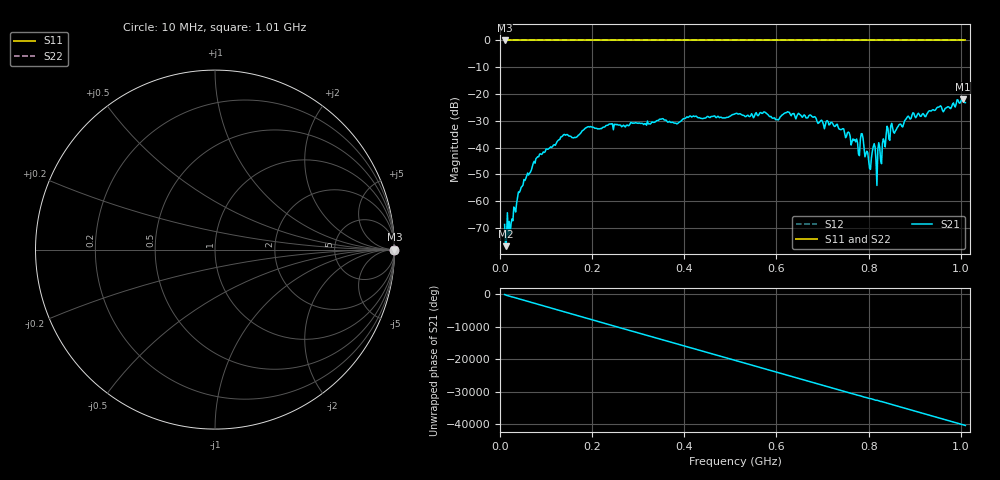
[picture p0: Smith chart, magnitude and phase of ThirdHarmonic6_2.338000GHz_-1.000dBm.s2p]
! 8/17/2025 3:26:13 AM
! C:\ANRITSUVNA\TEMP\TEMP.S2P
! CHANNEL.1
! TR.MEASUREMENT
! RAW.DATA
! RF.CORRECTION.OFF
! AVERAGING.OFF
! IF.BANDWIDTH: 5KHZ
! SWEEPTYPE:  FREQ.SWEEP(Linear)
! Reference Plane Port Info
! PORT:  PORT1  PORT2
! DISTANCE:  0  m  0  m
! TIME:  0  s  0  s
! PHASE.OFFSET:  0  deg.  0  deg.
! LOSS:  0  dB  0  dB
! REF.LOSS:  0  dB  0  dB
! REF.FREQ:  0  Hz  0  Hz
! Power Info
! POWER:  -20  dBm  -20  dBm
! EFF.POWER:  -20  dBm  -20  dBm
! SOURCE.ATTEN:  0  dB  0  dB
! TEST.ATTEN:  0  dB  0  dB
# GHZ S RI R 50.0
! FREQ.GHZ  S11RE  S11IM  S21RE  S21IM  S12RE  S12IM  S22RE  S22IM
!; PortSelection: Port_12
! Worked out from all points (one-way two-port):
!   501 points, 10 MHz to 1.01 GHz, reference 50 ohm
!   highest |S21| = -21.92 dB at 1.004 GHz (marker M1); lowest = -76.8 dB at 12 MHz (marker M2)
!   lowest |S11| = 0.0 dB at 10 MHz (marker M3)
!   |S11| at or under -10 dB: nowhere
!   |S22| runs from 0.0 to 0.0 dB; largest |S21 - S12| = 1.1
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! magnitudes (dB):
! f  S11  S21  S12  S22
! 10 MHz  0.0  -68.7  0.0  0.0
! 12 MHz  0.0  -76.8  0.0  0.0
! 22 MHz  0.0  -72.6  0.0  0.0
! 42 MHz  0.0  -56.8  0.0  0.0
! 82 MHz  0.0  -43.4  0.0  0.0
! 136 MHz  0.0  -35.6  0.0  0.0
! 178 MHz  0.0  -33.8  0.0  0.0
! 344 MHz  0.0  -29.9  0.0  0.0
! 382 MHz  0.0  -30.9  0.0  0.0
! 510 MHz  0.0  -27.4  0.0  0.0
! 678 MHz  0.0  -28.6  0.0  0.0
! 742 MHz  0.0  -33.2  0.0  0.0
! 776 MHz  0.0  -38.2  0.0  0.0
! 786 MHz  0.0  -34.9  0.0  0.0
! 802 MHz  0.0  -47.8  0.0  0.0
! 810 MHz  0.0  -39.7  0.0  0.0
! 814 MHz  0.0  -39.8  0.0  0.0
! 822 MHz  0.0  -38.2  0.0  0.0
! 844 MHz  0.0  -36.8  0.0  0.0
! 896 MHz  0.0  -27.0  0.0  0.0
! 1.004 GHz  0.0  -21.9  0.0  0.0
! 1.01 GHz  0.0  -23.2  0.0  0.0
